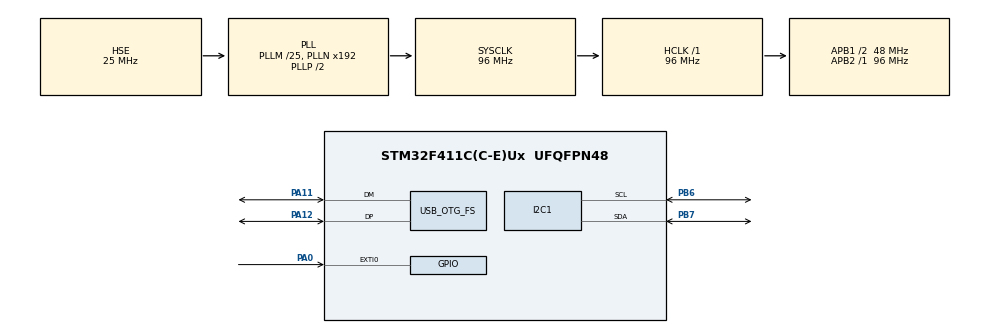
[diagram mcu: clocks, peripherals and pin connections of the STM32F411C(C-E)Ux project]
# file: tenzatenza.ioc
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I2C1.I2C_Mode=I2C_Fast
Mcu.Family=STM32F4
Mcu.Name=STM32F411C(C-E)Ux
Mcu.Package=UFQFPN48
NVIC.EXTI0_IRQn=true\:0\:0\:false\:false\:true\:true\:true\:true
NVIC.OTG_FS_IRQn=true\:0\:0\:false\:false\:true\:false\:true\:true
NVIC.PriorityGroup=NVIC_PRIORITYGROUP_4
PA0-WKUP.GPIO_ModeDefaultEXTI=GPIO_MODE_IT_RISING
PA0-WKUP.Signal=GPXTI0
PA11.Mode=Device_Only
PA11.Signal=USB_OTG_FS_DM
PA12.Mode=Device_Only
PA12.Signal=USB_OTG_FS_DP
PA13.Mode=Serial_Wire
PA13.Signal=SYS_JTMS-SWDIO
PA14.Mode=Serial_Wire
PA14.Signal=SYS_JTCK-SWCLK
PB6.Mode=I2C
PB6.Signal=I2C1_SCL
PB7.Mode=I2C
PB7.Signal=I2C1_SDA
PH0\ -\ OSC_IN.Mode=HSE-External-Oscillator
PH0\ -\ OSC_IN.Signal=RCC_OSC_IN
PH1\ -\ OSC_OUT.Mode=HSE-External-Oscillator
PH1\ -\ OSC_OUT.Signal=RCC_OSC_OUT
ProjectManager.HeapSize=0x200
ProjectManager.StackSize=0x800
ProjectManager.TargetToolchain=STM32CubeIDE
RCC.48MHZClocksFreq_Value=48000000
RCC.AHBFreq_Value=96000000
RCC.APB1CLKDivider=RCC_HCLK_DIV2
RCC.APB1Freq_Value=48000000
RCC.APB1TimFreq_Value=96000000
RCC.APB2Freq_Value=96000000
RCC.APB2TimFreq_Value=96000000
RCC.CortexFreq_Value=96000000
RCC.HCLKFreq_Value=96000000
RCC.HSE_VALUE=25000000
RCC.HSI_VALUE=16000000
RCC.LSE_VALUE=32768
RCC.PLLM=25
RCC.SYSCLKFreq_VALUE=96000000
RCC.SYSCLKSource=RCC_SYSCLKSOURCE_PLLCLK
RCC.VCOOutputFreq_Value=192000000
USB_DEVICE.CLASS_NAME_FS=CUSTOM_HID
USB_DEVICE.CUSTOM_HID_FS_BINTERVAL=0x1
USB_DEVICE.USBD_CUSTOM_HID_REPORT_DESC_SIZE=27
USB_DEVICE.VirtualMode=CustomHid
USB_DEVICE.VirtualModeFS=Custom_Hid_FS
USB_OTG_FS.VirtualMode=Device_Only
VP_USB_DEVICE_VS_USB_DEVICE_CUSTOM_HID_FS.Mode=CUSTOM_HID_FS
board=custom

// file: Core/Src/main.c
/* USER CODE BEGIN Header */
/**
  ******************************************************************************
  * @file           : main.c
  * @brief          : Педаль на тензодатчике: NAU7802 -> USB HID (одна 16-бит ось X)
  ******************************************************************************
  * @attention
  *
  * Copyright (c) 2026 STMicroelectronics.
  * All rights reserved.
  *
  * This software is licensed under terms that can be found in the LICENSE file
  * in the root directory of this software component.
  * If no LICENSE file comes with this software, it is provided AS-IS.
  *
  ******************************************************************************
  */
/* USER CODE END Header */
#include "main.h"
#include "usb_device.h"

/* USER CODE BEGIN Includes */
#include <stdio.h>
//#include "ssd1306.h"
#include "usbd_customhid.h"
/* USER CODE END Includes */

/* USER CODE BEGIN PD */

/* ======================= НАСТРОЙКИ ПЕДАЛИ ================================= */
#define ADC_SPAN_COUNTS   150000.0f  // Изменение raw от нуля до полного хода/усилия.
                                     // Подберите: нажмите педаль до упора и
                                     // посмотрите число на экране (строка AXIS RAW).
#define INVERT_AXIS       0          // 1, если при нажатии raw УМЕНЬШАЕТСЯ
#define FILTER_ALPHA      0.25f      // EMA 0..1: меньше = плавнее, но медленнее
#define DEADBAND          2200.0f     // Мёртвая зона у нуля (в отсчётах АЦП)
#define ZERO_TRACK        0.0005f    // Скорость подтягивания нуля (на один отсчёт)
#define TARE_SAMPLES      32         // Сколько отсчётов усреднять при старте
#define DRDY_TIMEOUT_MS   100        // Если фронт DRDY пропущен, читаем принудительно

#define OLED_ENABLED      1          // 0 = экран полностью отключен
#define OLED_UPDATE_MS    500        // Период обновления экрана (он блокирует I2C ~25 мс)

#define SIGN              (INVERT_AXIS ? -1.0f : 1.0f)

#define ZERO_TRACK        0.0005f    // Скорость подтягивания нуля (на один отсчёт)
#define WARMUP_MS         60000      // «прогрев»: первая минута после включения
#define WARMUP_WINDOW     5000.0f    // окно подстройки нуля в прогреве (отсчёты)
#define WARMUP_TRACK      0.003f     // скорость подстройки в прогреве
#define TARE_SAMPLES      32

#define OUT_SMOOTH   0.35f   // 0..1: меньше = плавнее, но больше задержка (~3 мс при 0.35)
/* ======================= NAU7802 ========================================== */
#define NAU7802_ADDR (0x2A << 1)

// Карта регистров NAU7802
#define NAU_REG_PU_CTRL  0x00
#define NAU_REG_CTRL1    0x01
#define NAU_REG_CTRL2    0x02
#define NAU_REG_ADCO_B2  0x12
#define NAU_REG_ADCO_B1  0x13
#define NAU_REG_ADCO_B0  0x14

// Биты регистра PU_CTRL (0x00)
#define NAU_PU_RR     (1 << 0)  // Register Reset
#define NAU_PU_PUD    (1 << 1)  // Power Up Digital
#define NAU_PU_PUA    (1 << 2)  // Power Up Analog
#define NAU_PU_PUR    (1 << 3)  // Power Up Ready (только чтение)
#define NAU_PU_CS     (1 << 4)  // Cycle Start (запуск конвертаций)
#define NAU_PU_CR     (1 << 5)  // Cycle Ready (данные готовы, только чтение)
#define NAU_PU_OSCS   (1 << 6)  // System clock source
#define NAU_PU_AVDDS  (1 << 7)  // AVDD source: 1 = внутренний LDO

// Биты регистра CTRL2 (0x02)
#define NAU_CTRL2_CALS     (1 << 2)  // Старт калибровки (сбрасывается сам по окончании)
#define NAU_CTRL2_CAL_ERR  (1 << 3)  // Ошибка калибровки

#define NAU_REG_ADC      0x15
#define NAU_REG_PGA_PWR  0x1C

// CTRL1: VLDO [5:3], GAIN [2:0]
//   0x2E = VLDO 3.0 В (101), GAIN x64 (110)
//   0x26 = VLDO 3.3 В (100), GAIN x64 (110)
#define NAU_CTRL1_VALUE  0x2E

// CTRL2: CRS [6:4] - частота выборок
//   0 = 10 SPS, 1 = 20, 2 = 40, 3 = 80, 7 = 320 SPS
#define NAU_CRS_VALUE    0x07
/* USER CODE END PD */

I2C_HandleTypeDef hi2c1;

/* USER CODE BEGIN PV */
extern USBD_HandleTypeDef hUsbDeviceFS;

volatile int32_t weight_raw = 0;       // последний сырой отсчёт (для отладчика)
volatile uint16_t axis_value = 0;      // то, что уходит на ПК
volatile uint8_t  drdy = 0;            // флаг от прерывания DRDY (PA0)

//static uint32_t last_oled_update = 0;
static uint32_t last_data_tick   = 0;
//static uint8_t  oled_ok    = 0;
static uint8_t  sensor_ok  = 0;

static float    filt   = 0.0f;         // отфильтрованное значение raw
static float    tare_f = 0.0f;         // текущий «ноль» (подстраивается)
static int32_t  last_hid = -1;         // последнее успешно отправленное значение

static float    out_f = 0.0f;
static uint32_t last_out_tick = 0;
/* USER CODE END PV */

void SystemClock_Config(void);
static void MX_GPIO_Init(void);
static void MX_I2C1_Init(void);
/* USER CODE BEGIN PFP */
void NAU7802_WriteReg(I2C_HandleTypeDef *hi2c, uint8_t reg, uint8_t value);
uint8_t NAU7802_ReadReg(I2C_HandleTypeDef *hi2c, uint8_t reg);
uint8_t NAU7802_Init(I2C_HandleTypeDef *hi2c);
int32_t NAU7802_ReadADC(I2C_HandleTypeDef *hi2c);
static int32_t NAU7802_ReadRaw(I2C_HandleTypeDef *hi2c, int32_t last);
static int32_t Tare_Measure(void);
static uint16_t Raw_To_U16(float d);
static void HID_SendAxis(uint16_t v);
/* USER CODE END PFP */

/* USER CODE BEGIN 0 */

void NAU7802_WriteReg(I2C_HandleTypeDef *hi2c, uint8_t reg, uint8_t value) {
    HAL_I2C_Mem_Write(hi2c, NAU7802_ADDR, reg, I2C_MEMADD_SIZE_8BIT, &value, 1, 100);
}

uint8_t NAU7802_ReadReg(I2C_HandleTypeDef *hi2c, uint8_t reg) {
    uint8_t value = 0;
    HAL_I2C_Mem_Read(hi2c, NAU7802_ADDR, reg, I2C_MEMADD_SIZE_8BIT, &value, 1, 100);
    return value;
}

uint8_t NAU7802_Init(I2C_HandleTypeDef *hi2c) {
    // 1. Программный сброс (RR = 1, затем RR = 0)
    NAU7802_WriteReg(hi2c, NAU_REG_PU_CTRL, NAU_PU_RR);
    HAL_Delay(10);
    NAU7802_WriteReg(hi2c, NAU_REG_PU_CTRL, 0x00);
    HAL_Delay(10);

    // 2. Включаем цифровую (PUD) и аналоговую (PUA) части
    NAU7802_WriteReg(hi2c, NAU_REG_PU_CTRL, NAU_PU_PUD | NAU_PU_PUA);   // = 0x06
    HAL_Delay(200);

    // 3. Ждем готовности питания (PUR = 1)
    uint32_t timeout = 1000;
    while (!(NAU7802_ReadReg(hi2c, NAU_REG_PU_CTRL) & NAU_PU_PUR)) {
        HAL_Delay(1);
        if (--timeout == 0) return 0;
    }

    // 4. Внутренний LDO (AVDDS = 1) и запуск циклов конвертации (CS = 1)
    uint8_t pu_ctrl = NAU7802_ReadReg(hi2c, NAU_REG_PU_CTRL);
    pu_ctrl |= NAU_PU_AVDDS | NAU_PU_CS;
    NAU7802_WriteReg(hi2c, NAU_REG_PU_CTRL, pu_ctrl);
    HAL_Delay(50);

    // 5. CTRL1: напряжение LDO и усиление PGA
    NAU7802_WriteReg(hi2c, NAU_REG_CTRL1, NAU_CTRL1_VALUE);
    HAL_Delay(10);

    // 6. CTRL2: частота выборок CRS [6:4]
    uint8_t ctrl2 = NAU7802_ReadReg(hi2c, NAU_REG_CTRL2);
    ctrl2 &= ~0x70;
    ctrl2 |= (NAU_CRS_VALUE << 4);
    NAU7802_WriteReg(hi2c, NAU_REG_CTRL2, ctrl2);
    HAL_Delay(10);

    // 6a. Отключаем CLK_CHP (рекомендация даташита, раздел 9.1)
    NAU7802_WriteReg(hi2c, NAU_REG_ADC, 0x30);

    // 6b. Включаем встроенный конденсатор 330 пФ на выходе PGA (бит 7)
    uint8_t pga_pwr = NAU7802_ReadReg(hi2c, NAU_REG_PGA_PWR);
    pga_pwr |= (1 << 7);
    NAU7802_WriteReg(hi2c, NAU_REG_PGA_PWR, pga_pwr);

    // 7. Внутренняя калибровка (CALS = 1), ждем сброса бита
    ctrl2 = NAU7802_ReadReg(hi2c, NAU_REG_CTRL2);
    ctrl2 |= NAU_CTRL2_CALS;
    NAU7802_WriteReg(hi2c, NAU_REG_CTRL2, ctrl2);

    timeout = 1000;
    while (NAU7802_ReadReg(hi2c, NAU_REG_CTRL2) & NAU_CTRL2_CALS) {
        HAL_Delay(10);
        if (--timeout == 0) return 0;
    }

    // Проверка ошибки калибровки
    if (NAU7802_ReadReg(hi2c, NAU_REG_CTRL2) & NAU_CTRL2_CAL_ERR) {
        return 0;
    }

    return 1;
}

/* Чтение с ожиданием готовности по биту CR (опрос по I2C).
 * Используется только при старте (тарирование). В основном цикле
 * данные читаются по прерыванию DRDY через NAU7802_ReadRaw(). */
int32_t NAU7802_ReadADC(I2C_HandleTypeDef *hi2c) {
    static int32_t last = 0;

    uint32_t timeout = 300;
    while (!(NAU7802_ReadReg(hi2c, NAU_REG_PU_CTRL) & NAU_PU_CR)) {
        HAL_Delay(1);
        if (--timeout == 0) return last;   // данных нет - отдаем прошлое значение
    }

    last = NAU7802_ReadRaw(hi2c, last);
    return last;
}

/* Чтение 3 байт результата без ожидания (burst с адреса 0x12). */
static int32_t NAU7802_ReadRaw(I2C_HandleTypeDef *hi2c, int32_t last)
{
    uint8_t rx[3];
    if (HAL_I2C_Mem_Read(hi2c, NAU7802_ADDR, NAU_REG_ADCO_B2, I2C_MEMADD_SIZE_8BIT,
                         rx, 3, 100) != HAL_OK) {
        return last;
    }

    int32_t raw = ((int32_t)rx[0] << 16) | ((int32_t)rx[1] << 8) | rx[2];

    // Знаковое расширение 24-бит до 32-бит
    if (raw & 0x800000) {
        raw |= 0xFF000000;
    }
    return raw;
}

/* Усреднённое значение для начального «нуля». */
static int32_t Tare_Measure(void)
{
    int64_t sum = 0;
    for (int i = 0; i < TARE_SAMPLES; i++) {
        sum += NAU7802_ReadADC(&hi2c1);
    }
    return (int32_t)(sum / TARE_SAMPLES);
}

/* Смещение от нуля (в отсчётах, уже со знаком оси) -> 0..65535. */
static uint16_t Raw_To_U16(float d)
{
    d -= DEADBAND;
    if (d < 0.0f) d = 0.0f;
    if (d > ADC_SPAN_COUNTS) d = ADC_SPAN_COUNTS;
    return (uint16_t)(d * 65535.0f / ADC_SPAN_COUNTS);
}

/* Отправка отчёта HID (2 байта, little-endian, без Report ID).
 * Если эндпоинт занят - last_hid не обновляется, и отправка повторится
 * в следующей итерации цикла. */
static void HID_SendAxis(uint16_t v)
{
    uint8_t rep[2] = { (uint8_t)(v & 0xFF), (uint8_t)(v >> 8) };

    if (hUsbDeviceFS.dev_state == USBD_STATE_CONFIGURED) {
        if (USBD_CUSTOM_HID_SendReport(&hUsbDeviceFS, rep, 2) == USBD_OK) {
            last_hid = v;
        }
    }
}

/* USER CODE END 0 */

int main(void)
{

  /* MCU Configuration--------------------------------------------------------*/

  /* Reset of all peripherals, Initializes the Flash interface and the Systick. */
  HAL_Init();

  /* Configure the system clock */
  SystemClock_Config();

  /* Initialize all configured peripherals */
  MX_GPIO_Init();
  MX_I2C1_Init();
  MX_USB_DEVICE_Init();
  /* USER CODE BEGIN 2 */

  // USB уже поднят: даже если датчик или экран не ответят, устройство
  // будет видно на ПК (ось просто останется в нуле).

//#if OLED_ENABLED
//  // Экран необязателен: при ошибке просто работаем без него
//  oled_ok = SSD1306_Init(&hi2c1);
//  if (oled_ok) {
//      SSD1306_Fill(SSD1306_BLACK);
//      SSD1306_WriteString(0, 0, "AXIS RAW", 1);
//      SSD1306_UpdateScreen();
//  }
//#endif

  // Датчик: проверка связи + инициализация
  if (HAL_I2C_IsDeviceReady(&hi2c1, NAU7802_ADDR, 3, 100) == HAL_OK) {
      sensor_ok = NAU7802_Init(&hi2c1);
  }

  if (sensor_ok) {
      // Начальный ноль (педаль должна быть свободна; если нет - ноль сам
      // сдвинется вниз, как только педаль отпустят)
      tare_f = (float)Tare_Measure();
      filt   = tare_f;
  }
//  else if (oled_ok) {
//      SSD1306_Fill(SSD1306_BLACK);
//      SSD1306_WriteString(0, 0, "NAU ERROR", 2);
//      SSD1306_UpdateScreen();
//  }

  drdy = 0;
  last_data_tick = HAL_GetTick();

  /* USER CODE END 2 */

  /* Infinite loop */
  /* USER CODE BEGIN WHILE */
  while (1)
  {
      if (sensor_ok &&
          (drdy || (HAL_GetTick() - last_data_tick > DRDY_TIMEOUT_MS)))
      {
          drdy = 0;
          last_data_tick = HAL_GetTick();

          int32_t raw = NAU7802_ReadRaw(&hi2c1, weight_raw);
          weight_raw = raw;

          // Экспоненциальный фильтр
          filt += FILTER_ALPHA * ((float)raw - filt);

          // Смещение от нуля с учётом направления оси
          // Смещение от нуля с учётом направления оси
          float d = (filt - tare_f) * SIGN;

          // Первую минуту ноль подстраивается быстрее и в более широком окне
          uint32_t now = HAL_GetTick();
          float window = (now < WARMUP_MS) ? WARMUP_WINDOW : DEADBAND;
          float k      = (now < WARMUP_MS) ? WARMUP_TRACK  : ZERO_TRACK;

          if (d < 0.0f) {
              // Ушли ниже нуля: сразу переносим ноль
              tare_f = filt;
              d = 0.0f;
          } else if (d < window) {
              // В зоне покоя: ноль медленно следует за дрейфом
              tare_f += (filt - tare_f) * k;
          }

          axis_value = Raw_To_U16(d);
      }

      // Каждую миллисекунду плавно подтягиваем выход к целевому значению
      uint32_t t = HAL_GetTick();
      if (t != last_out_tick) {
          last_out_tick = t;
          out_f += OUT_SMOOTH * ((float)axis_value - out_f);
          uint16_t v = (uint16_t)(out_f + 0.5f);
          if ((int32_t)v != last_hid) {
              HID_SendAxis(v);
          }
      }

//#if OLED_ENABLED
//      if (oled_ok && sensor_ok &&
//          (HAL_GetTick() - last_oled_update >= OLED_UPDATE_MS)) {
//          last_oled_update = HAL_GetTick();
//
//          char buf[16];
//          snprintf(buf, sizeof(buf), "%8ld", (long)((filt - tare_f) * SIGN));
//
//          char hbuf[16];
//          snprintf(hbuf, sizeof(hbuf), "HID: %5u", (unsigned)axis_value);
//
//          SSD1306_Fill(SSD1306_BLACK);
//          SSD1306_WriteString(0, 0, "AXIS RAW", 1);
//          SSD1306_WriteString(0, 24, buf, 2);
//          SSD1306_WriteString(0, 52, hbuf, 1);
//          SSD1306_UpdateScreen();
//      }
//#endif

    /* USER CODE END WHILE */

  }
}

void SystemClock_Config(void)
{
  RCC_OscInitTypeDef RCC_OscInitStruct = {0};
  RCC_ClkInitTypeDef RCC_ClkInitStruct = {0};

  /** Configure the main internal regulator output voltage
  */
  __HAL_RCC_PWR_CLK_ENABLE();
  __HAL_PWR_VOLTAGESCALING_CONFIG(PWR_REGULATOR_VOLTAGE_SCALE1);

  /** Initializes the RCC Oscillators according to the specified parameters
  * in the RCC_OscInitTypeDef structure.
  */
  RCC_OscInitStruct.OscillatorType = RCC_OSCILLATORTYPE_HSE;
  RCC_OscInitStruct.HSEState = RCC_HSE_ON;
  RCC_OscInitStruct.PLL.PLLState = RCC_PLL_ON;
  RCC_OscInitStruct.PLL.PLLSource = RCC_PLLSOURCE_HSE;
  RCC_OscInitStruct.PLL.PLLM = 25;
  RCC_OscInitStruct.PLL.PLLN = 192;
  RCC_OscInitStruct.PLL.PLLP = RCC_PLLP_DIV2;
  RCC_OscInitStruct.PLL.PLLQ = 4;
  if (HAL_RCC_OscConfig(&RCC_OscInitStruct) != HAL_OK)
  {
    Error_Handler();
  }

  /** Initializes the CPU, AHB and APB buses clocks
  */
  RCC_ClkInitStruct.ClockType = RCC_CLOCKTYPE_HCLK|RCC_CLOCKTYPE_SYSCLK
                              |RCC_CLOCKTYPE_PCLK1|RCC_CLOCKTYPE_PCLK2;
  RCC_ClkInitStruct.SYSCLKSource = RCC_SYSCLKSOURCE_PLLCLK;
  RCC_ClkInitStruct.AHBCLKDivider = RCC_SYSCLK_DIV1;
  RCC_ClkInitStruct.APB1CLKDivider = RCC_HCLK_DIV2;
  RCC_ClkInitStruct.APB2CLKDivider = RCC_HCLK_DIV1;

  if (HAL_RCC_ClockConfig(&RCC_ClkInitStruct, FLASH_LATENCY_3) != HAL_OK)
  {
    Error_Handler();
  }
}

static void MX_I2C1_Init(void)
{

  hi2c1.Instance = I2C1;
  hi2c1.Init.ClockSpeed = 400000;
  hi2c1.Init.DutyCycle = I2C_DUTYCYCLE_2;
  hi2c1.Init.OwnAddress1 = 0;
  hi2c1.Init.AddressingMode = I2C_ADDRESSINGMODE_7BIT;
  hi2c1.Init.DualAddressMode = I2C_DUALADDRESS_DISABLE;
  hi2c1.Init.OwnAddress2 = 0;
  hi2c1.Init.GeneralCallMode = I2C_GENERALCALL_DISABLE;
  hi2c1.Init.NoStretchMode = I2C_NOSTRETCH_DISABLE;
  if (HAL_I2C_Init(&hi2c1) != HAL_OK)
  {
    Error_Handler();
  }

}

static void MX_GPIO_Init(void)
{
  GPIO_InitTypeDef GPIO_InitStruct = {0};

  /* GPIO Ports Clock Enable */
  __HAL_RCC_GPIOH_CLK_ENABLE();
  __HAL_RCC_GPIOA_CLK_ENABLE();
  __HAL_RCC_GPIOB_CLK_ENABLE();

  /*Configure GPIO pin : PA0 */
  GPIO_InitStruct.Pin = GPIO_PIN_0;
  GPIO_InitStruct.Mode = GPIO_MODE_IT_RISING;
  GPIO_InitStruct.Pull = GPIO_NOPULL;
  HAL_GPIO_Init(GPIOA, &GPIO_InitStruct);

  /* EXTI interrupt init*/
  HAL_NVIC_SetPriority(EXTI0_IRQn, 0, 0);
  HAL_NVIC_EnableIRQ(EXTI0_IRQn);

}

/* USER CODE BEGIN 4 */

/* Прерывание DRDY (PA0): только ставим флаг, чтение - в основном цикле */
void HAL_GPIO_EXTI_Callback(uint16_t GPIO_Pin)
{
    if (GPIO_Pin == GPIO_PIN_0) {
        drdy = 1;
    }
}

/* USER CODE END 4 */

void Error_Handler(void)
{
  __disable_irq();
  while (1)
  {
  }
}
